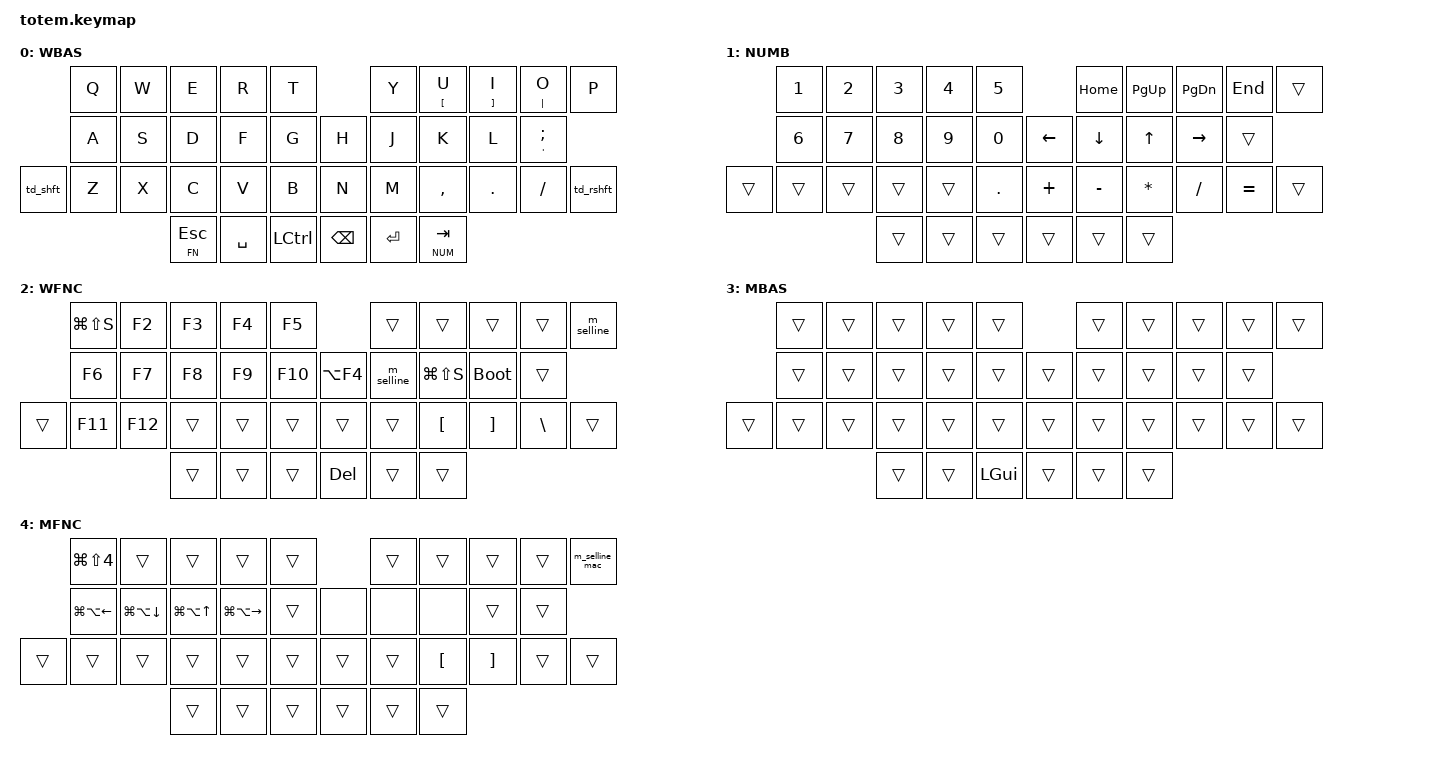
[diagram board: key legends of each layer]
/*
 * TOTEM keymap  --  Cornix migration v2
 *
 * Layers : Base(0) / Num(1) / Fn(2) / Mac(3) / MacFn(4)
 *
 *  Thumbs   : Esc(hold Fn)  Space  Ctrl  |  Bksp  Enter  Tab(hold Num)
 *  GUI      : J + K combo (sticky)   -- becomes CTRL in Mac mode
 *  ALT      : D + F combo (sticky)   -- works in both Win & Mac (Option)
 *  Shift    : left pinky (tap = sticky Shift / double-tap = Caps)  right pinky (tap Shift / double-tap ')
 *  Hold     : U=[  I=]  O=|  ;='
 *  Backslash: Fn + /
 *  Han/Eng  : hold left Shift + Space
 *
 *  Mac mode : toggle by pressing BOTH pinky keys together
 *  Fn extras: [ ] on , .  /  \ on /
 */

#include <behaviors.dtsi>
#include <dt-bindings/zmk/keys.h>

#define BASE  0
#define NUM   1
#define FN    2
#define MAC   3
#define MACFN 4


&lt {
    tapping-term-ms = <240>;
    flavor = "balanced";
    quick-tap-ms = <150>;
    require-prior-idle-ms = <150>;
};


/ {
    macros {
        m_selline: m_selline {          /* select current line (Win) */
            compatible = "zmk,behavior-macro";
            #binding-cells = <0>;
            bindings = <&kp HOME &kp LS(END)>;
        };

        m_selline_mac: m_selline_mac {  /* select current line (Mac) */
            compatible = "zmk,behavior-macro";
            #binding-cells = <0>;
            bindings = <&kp LG(LEFT) &kp LS(LG(RIGHT))>;
        };

        /* Han/Eng: drop Shift first, then tap right Option/Alt (HID 0xE6).
         * On macOS this is Gureum's Han/Eng key (RightToggleKey=230); on
         * Windows it is the Han/Eng key. Releasing Shift keeps it a clean
         * RALT so the combo's Shift doesn't stick to it. Passes DeskHop. */
        m_haneng: m_haneng {
            compatible = "zmk,behavior-macro";
            #binding-cells = <0>;
            bindings = <&macro_release &kp LSHFT &kp RSHFT>
                     , <&macro_tap &kp RALT>;
        };
    };

    behaviors {
        td_shft: td_shft {
            compatible = "zmk,behavior-tap-dance";
            #binding-cells = <0>;
            tapping-term-ms = <150>;
            bindings = <&sk LSHFT>, <&kp CAPS>;
        };

        td_rshft: td_rshft {
            compatible = "zmk,behavior-tap-dance";
            #binding-cells = <0>;
            tapping-term-ms = <150>;
            bindings = <&kp RSHFT>, <&kp SQT>;
        };

        sym: sym_hold_tap {
            compatible = "zmk,behavior-hold-tap";
            #binding-cells = <2>;
            tapping-term-ms = <200>;
            flavor = "tap-preferred";
            bindings = <&kp>, <&kp>;
        };

    };

    combos {
        compatible = "zmk,combos";

        /* J+K  -- Windows GUI (Win key) on Base */
        combo_gui {
            timeout-ms = <40>;
            require-prior-idle-ms = <100>;
            key-positions = <16 17>;
            layers = <BASE>;
            bindings = <&sk LGUI>;
        };

        /* J+K  -- Becomes Ctrl when Mac mode is active */
        combo_ctrl_mac {
            timeout-ms = <40>;
            require-prior-idle-ms = <100>;
            key-positions = <16 17>;
            layers = <MAC>;
            bindings = <&sk LCTRL>;
        };

        /* D+F  -- Alt / Option (same on both OS) */
        combo_alt {
            timeout-ms = <40>;
            require-prior-idle-ms = <100>;
            key-positions = <12 13>;
            layers = <BASE MAC>;
            bindings = <&sk LALT>;
        };

        /* Shift + Space  -- Han/Eng (right Option/Alt) on every layer & both OSes.
         * Left Shift (pos 20) or right Shift (pos 31) + Space (pos 33). */
        combo_haneng_l {
            timeout-ms = <50>;
            key-positions = <20 33>;
            layers = <BASE NUM FN MAC MACFN>;
            bindings = <&m_haneng>;
        };

        combo_haneng_r {
            timeout-ms = <50>;
            key-positions = <31 33>;
            layers = <BASE NUM FN MAC MACFN>;
            bindings = <&m_haneng>;
        };

        /* both pinky keys  -- Mac mode toggle */
        combo_macmode {
            timeout-ms = <50>;
            require-prior-idle-ms = <200>;
            key-positions = <20 31>;
            bindings = <&tog MAC>;
        };
    };

    conditional_layers {
        compatible = "zmk,conditional-layers";
        mac_fn {
            if-layers = <FN MAC>;
            then-layer = <MACFN>;
        };
    };

    keymap {
        compatible = "zmk,keymap";

        Base {
            display-name = "WBAS";
            bindings = <
                &kp Q       &kp W   &kp E   &kp R   &kp T          &kp Y      &sym LBKT U  &sym RBKT I  &sym PIPE O  &kp P
                &kp A       &kp S   &kp D   &kp F   &kp G          &kp H      &kp J      &kp K       &kp L     &sym SQT SEMI
&td_shft        &kp Z       &kp X   &kp C   &kp V   &kp B          &kp N      &kp M      &kp COMMA   &kp DOT   &kp FSLH   &td_rshft
                                    &lt FN ESC  &kp SPACE  &kp LCTRL    &kp BSPC   &kp RET    &lt NUM TAB
            >;
        };

        Num {
            display-name = "NUMB";
            bindings = <
                &kp N1      &kp N2  &kp N3  &kp N4  &kp N5         &kp HOME   &kp PG_UP  &kp PG_DN   &kp END   &trans
                &kp N6      &kp N7  &kp N8  &kp N9  &kp N0         &kp LEFT   &kp DOWN   &kp UP      &kp RIGHT &trans
&trans          &trans      &trans  &trans  &trans  &kp DOT        &kp PLUS   &kp MINUS  &kp ASTRK   &kp FSLH  &kp EQUAL  &trans
                                    &trans      &trans     &trans       &trans     &trans     &trans
            >;
        };

        Fn {
            display-name = "WFNC";
            bindings = <
                &kp LG(LS(S)) &kp F2  &kp F3  &kp F4  &kp F5         &trans          &trans            &trans          &trans            &m_selline
                &kp F6      &kp F7  &kp F8  &kp F9  &kp F10        &kp LA(F4)      &m_selline        &kp LG(LS(S))   &bootloader       &trans
&trans          &kp F11     &kp F12 &trans  &trans  &trans         &trans          &trans            &kp LBKT        &kp RBKT          &kp BSLH   &trans
                                    &trans      &trans     &trans       &kp DEL    &trans     &trans
            >;
        };

        Mac {
            display-name = "MBAS";
            bindings = <
                &trans      &trans  &trans  &trans  &trans         &trans     &trans     &trans      &trans    &trans
                &trans      &trans  &trans  &trans  &trans         &trans     &trans     &trans      &trans    &trans
&trans          &trans      &trans  &trans  &trans  &trans         &trans     &trans     &trans      &trans    &trans     &trans
                                    &trans      &trans     &kp LGUI     &trans     &trans     &trans
            >;
        };

        MacFn {
            display-name = "MFNC";
            bindings = <
                &kp LG(LS(N4))       &trans               &trans              &trans  &trans         &trans  &trans  &trans        &trans    &m_selline_mac
                &kp LG(LA(LEFT))     &kp LG(LA(DOWN))     &kp LG(LA(UP))      &kp LG(LA(RIGHT))  &trans    &none   &none           &none         &trans    &trans
&trans          &trans               &trans               &trans              &trans  &trans         &trans  &trans          &kp LBKT      &kp RBKT  &trans &trans
                                    &trans      &trans     &trans       &trans     &trans     &trans
            >;
        };
    };
};
